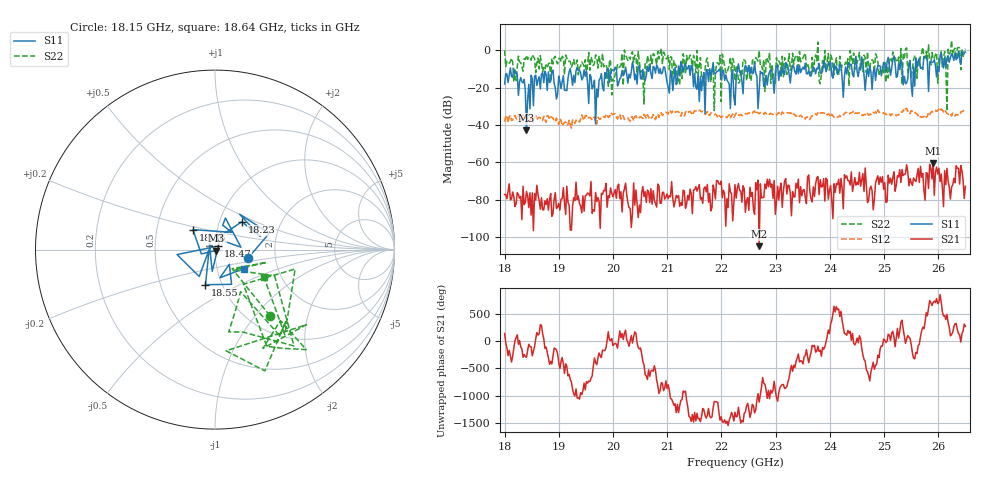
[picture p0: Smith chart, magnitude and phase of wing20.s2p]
!Keysight Technologies,N5242B,MY47200105,A.14.00.23
!Date: Friday, May 10, 2024 11:00:00
!Correction: S11(C  2-Port  )
!S21(C  2-Port  )
!S12(C  2-Port  )
!S22(C  2-Port  )
!S2P File: Measurement: :
# Hz S  RI  R 50
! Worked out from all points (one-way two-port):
!   401 points, 18 GHz to 26.5 GHz, reference 50 ohm
!   highest |S21| = -60.28 dB at 25.91 GHz (marker M1); lowest = -104.9 dB at 22.7 GHz (marker M2)
!   lowest |S11| = -42.8 dB at 18.4 GHz (marker M3), VSWR 1.01, Z = 50.5 - j0.534 ohm
!   |S11| at or under -10 dB: 18.11 GHz to 19.21 GHz (1.101 GHz wide, 5.9 % of centre); 19.35 GHz to 19.9 GHz (552.2 MHz wide, 2.81 % of centre); 22.62 GHz to 23.01 GHz (381.9 MHz wide, 1.67 % of centre) (the widest 3 of 65)
!   |S22| runs from -32.6 to 5.2 dB; largest |S21 - S12| = 0.028
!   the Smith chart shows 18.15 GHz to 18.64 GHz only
!   S11 on the Smith chart (normalised r, x): 18.15 GHz: 1.44, -0.14; 18.23 GHz: 1.27, +0.41; 18.36 GHz: 0.76, +0.17; 18.47 GHz: 1.04, +0.04; 18.55 GHz: 0.84, -0.34; 18.64 GHz: 1.35, -0.30
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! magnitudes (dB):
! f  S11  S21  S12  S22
! 18 GHz  -18.1  -77.2  -38.2  -0.1
! 18.15 GHz  -14.4  -75.9  -37.5  -6.4
! 18.23 GHz  -13.4  -76.2  -37.2  -8.8
! 18.36 GHz  -15.6  -82.6  -37.2  -4.4
! 18.4 GHz  -42.8  -75.6  -35.4  -2.7
! 18.47 GHz  -31.4  -76.3  -38.1  -4.3
! 18.55 GHz  -13.9  -76.8  -35.5  -4.3
! 18.64 GHz  -14.3  -80.5  -35.9  -10.1
! 19.42 GHz  -15.9  -87.0  -34.7  -6.4
! 19.68 GHz  -39.3  -76.1  -39.5  -2.5
! 20.02 GHz  -11.2  -76.4  -34.0  -16.5
! 20.25 GHz  -12.7  -77.2  -36.4  -4.3
! 20.55 GHz  -10.3  -72.9  -36.5  -13.7
! 20.85 GHz  -12.4  -72.8  -35.9  -4.6
! 21.23 GHz  -13.5  -83.6  -34.5  -18.4
! 21.4 GHz  -8.2  -80.1  -33.0  -4.4
! 22.25 GHz  -29.3  -72.0  -35.0  -16.3
! 22.7 GHz  -21.4  -104.9  -34.0  -0.2
! 23.67 GHz  -11.0  -81.2  -35.2  -3.8
! 25.1 GHz  -8.3  -71.1  -33.9  -5.8
! 25.91 GHz  -6.3  -60.3  -33.1  -4.8
! 26.5 GHz  -1.0  -72.8  -32.5  0.8
